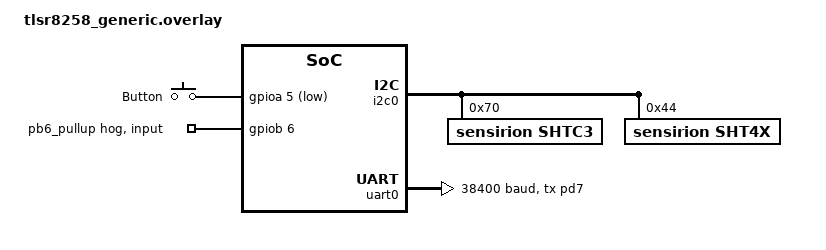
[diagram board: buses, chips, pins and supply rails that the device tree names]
/*
 * SPDX-License-Identifier: Apache-2.0
 *
 * Xiaomi LYWSD03MMC (z03mmc) with its stock hardware: I2C on PC2/PC3 with a
 * SHTC3 (board revision B1.4) or a SHT4x (B1.6, B1.9), the segment LCD on the
 * same bus (B1.4, B1.9) or on UART0 (B1.6, TX on PD7), and two test points
 * used as buttons. The revision is found at boot: the first sensor that
 * answers is used, and the panel driver probes its own variants. The pin map
 * is the one of the z03mmc firmware (board_8258_03mmc.h, lcd.c).
 */

#include "../common/sensor.dtsi"
#include "../common/i2c-c2c3.dtsi"

/ {
	aliases {
		sw0 = &button0;
		ambient-sensor = &shtc3;
		ambient-sensor-alt = &sht4x;
		climate-display = &lcd;
		/delete-property/ led0;
	};

	buttons {
		compatible = "gpio-keys";

		/* the reset test point */
		button0: button_0 {
			gpios = <&gpioa 5 (GPIO_ACTIVE_LOW | GPIO_PULL_UP)>;
			label = "Button";
		};
	};

	lcd: lcd {
		compatible = "iotdrv,lywsd03mmc-lcd";
		i2c = <&i2c0>;
		uart = <&uart0>;
	};
};

&led0 {
	status = "disabled";
};

&i2c0 {
	shtc3: shtc3@70 {
		compatible = "sensirion,shtc3", "sensirion,shtcx";
		reg = <0x70>;
		measure-mode = "normal";
		clock-stretching;
	};

	sht4x: sht4x@44 {
		compatible = "sensirion,sht4x";
		reg = <0x44>;
		repeatability = <2>;
	};
};

&pinctrl {
	uart0_tx_pd7: uart0_tx_pd7 {
		pinmux = <TLSR8258_PINMUX(TLSR8258_GPIO_PD7, TLSR8258_FUNC_UART)>;
		output-enable;
	};
};

/* The B1.6 panel, at 38400 baud, 8N1, transmit only */
&uart0 {
	status = "okay";
	current-speed = <38400>;
	tx-pin = <TLSR8258_GPIO_PD7>;
	/delete-property/ rx-pin;
	pinctrl-0 = <&uart0_tx_pd7>;
};

/*
 * A pin that goes to the LCD controller of the B1.4 revision: the stock firmware
 * pulls it up, or the panel misbehaves in the cold.
 */
&gpiob {
	pb6_pullup: pb6-pullup {
		gpio-hog;
		gpios = <6 GPIO_PULL_UP>;
		input;
	};
};
